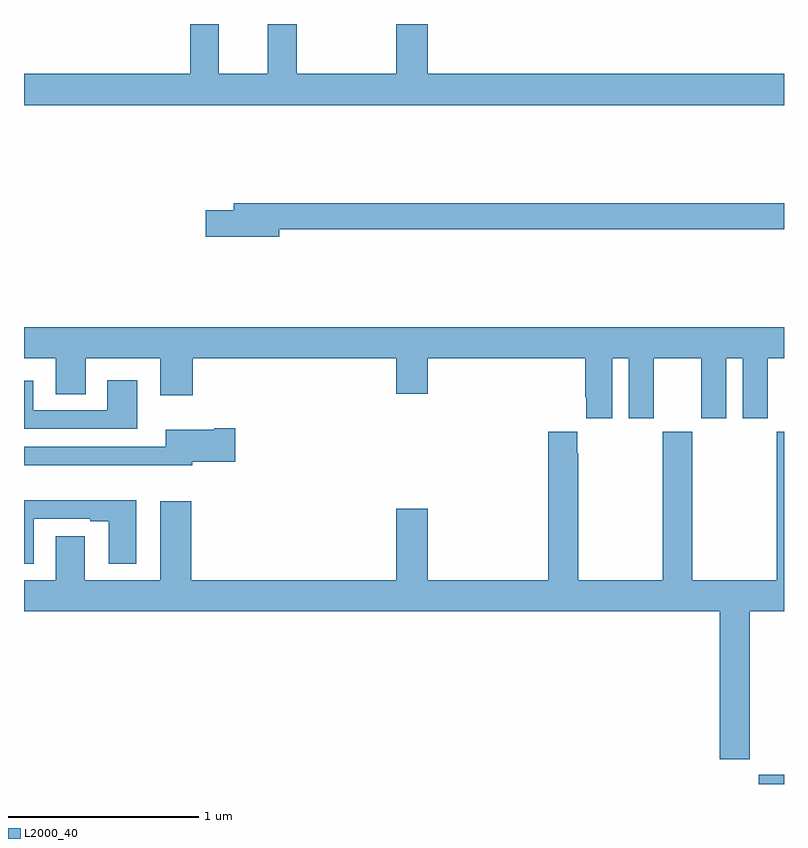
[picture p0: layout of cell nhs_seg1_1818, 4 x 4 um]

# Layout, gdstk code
import gdstk
lib = gdstk.Library(unit=1e-6, precision=1e-09)
def R(c, l, rs):  # rectangles x0, y0, x1, y1
    for r in rs: c.add(gdstk.rectangle(r[:2], r[2:], *l))
def P(c, l, *ps):  # polygons
    for p in ps: c.add(gdstk.Polygon(p, *l))
L2000_40 = (2000, 40)

nhs_seg1_1818 = lib.new_cell('nhs_seg1_1818')
R(nhs_seg1_1818, L2000_40, [(214.868,508.199,215,508.249)])
P(nhs_seg1_1818, L2000_40, [(215,511.936),(213.124,511.936),(213.124,512.199),(212.96,512.199),(212.96,511.936),(212.435,511.936),(212.435,512.199),(212.282,512.199),(212.282,511.936),(212.026,511.936),(212.026,512.199),(211.874,512.199),(211.874,511.936),(211,511.936),(211,511.772),(215,511.772)],
  [(212.344,511.12),(215,511.12),(215,511.256),(212.105,511.256),(212.105,511.22),(211.956,511.22),(211.956,511.078),(212.344,511.078)],
  [(211,510.44),(211.166,510.44),(211.166,510.25),(211.324,510.25),(211.324,510.44),(211.718,510.44),(211.718,510.246),(211.889,510.246),(211.889,510.44),(212.96,510.44),(212.96,510.252),(213.124,510.252),(213.124,510.44),(213.953,510.44),(213.953,510.235),(213.959,510.235),(213.959,510.123),(214.096,510.123),(214.096,510.44),(214.184,510.44),(214.184,510.123),(214.315,510.123),(214.315,510.44),(214.565,510.44),(214.565,510.123),(214.696,510.123),(214.696,510.44),(214.784,510.44),(214.784,510.123),(214.915,510.123),(214.915,510.44),(215,510.44),(215,510.604),(211,510.604)],
  [(211.597,510.325),(211.439,510.325),(211.439,510.165),(211.048,510.165),(211.048,510.322),(211,510.322),(211,510.069),(211.597,510.069)],
  [(211.885,509.894),(212.113,509.894),(212.113,510.072),(212,510.072),(212,510.064),(211.745,510.064),(211.745,509.973),(211,509.973),(211,509.876),(211.885,509.876)],
  [(214.821,509.108),(215,509.108),(215,510.052),(214.963,510.052),(214.963,509.272),(214.518,509.272),(214.518,510.052),(214.363,510.052),(214.363,509.272),(213.918,509.272),(213.918,509.939),(213.913,509.939),(213.913,510.052),(213.758,510.052),(213.758,509.272),(213.124,509.272),(213.124,509.647),(212.96,509.647),(212.96,509.272),(211.879,509.272),(211.879,509.686),(211.718,509.686),(211.718,509.272),(211.321,509.272),(211.321,509.503),(211.166,509.503),(211.166,509.272),(211,509.272),(211,509.108),(214.661,509.108),(214.661,508.329),(214.821,508.329)],
  [(211.051,509.595),(211.349,509.595),(211.349,509.583),(211.445,509.583),(211.445,509.358),(211.591,509.358),(211.591,509.693),(211,509.693),(211,509.357),(211.051,509.357)])

lib.write_gds('nhs_seg1_1818.gds')
